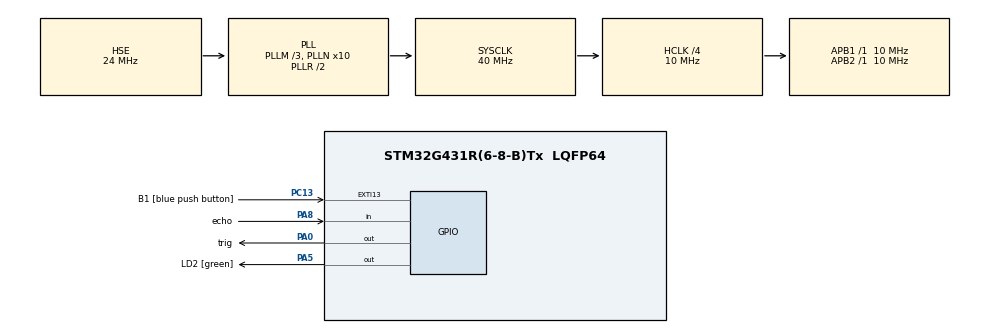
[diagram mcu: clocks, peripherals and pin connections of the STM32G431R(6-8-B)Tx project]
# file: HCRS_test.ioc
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Mcu.Family=STM32G4
Mcu.Name=STM32G431R(6-8-B)Tx
Mcu.Package=LQFP64
NVIC.PriorityGroup=NVIC_PRIORITYGROUP_4
PA0.GPIO_Label=trig 
PA0.Signal=GPIO_Output
PA13.GPIO_Label=T_SWDIO
PA13.Signal=SYS_JTMS-SWDIO
PA14.GPIO_Label=T_SWCLK
PA14.Signal=SYS_JTCK-SWCLK
PA2.GPIO_Label=LPUART1_TX [STLINKV3E_VCP_RX]
PA2.Signal=LPUART1_TX
PA3.GPIO_Label=LPUART1_RX [STLINKV3E_VCP_TX]
PA3.Signal=LPUART1_RX
PA5.GPIO_Label=LD2 [green]
PA5.Signal=GPIO_Output
PA8.GPIO_Label=echo
PA8.Signal=GPIO_Input
PB3.GPIO_Label=T_SWO
PB3.Signal=SYS_JTDO-SWO
PC13.GPIO_Label=B1 [blue push button]
PC13.Signal=GPXTI13
PC14-OSC32_IN.Signal=RCC_OSC32_IN
PC15-OSC32_OUT.Signal=RCC_OSC32_OUT
PF0-OSC_IN.Mode=HSE-External-Oscillator
PF0-OSC_IN.Signal=RCC_OSC_IN
PF1-OSC_OUT.Mode=HSE-External-Oscillator
PF1-OSC_OUT.Signal=RCC_OSC_OUT
ProjectManager.HeapSize=0x200
ProjectManager.StackSize=0x400
ProjectManager.TargetToolchain=MDK-ARM V5.27
RCC.ADC12Freq_Value=40000000
RCC.AHBCLKDivider=RCC_SYSCLK_DIV4
RCC.AHBFreq_Value=10000000
RCC.APB1Freq_Value=10000000
RCC.APB1TimFreq_Value=10000000
RCC.APB2Freq_Value=10000000
RCC.APB2TimFreq_Value=10000000
RCC.CortexFreq_Value=10000000
RCC.EXTERNAL_CLOCK_VALUE=12288000
RCC.HCLKFreq_Value=10000000
RCC.HSE_VALUE=24000000
RCC.HSI48_VALUE=48000000
RCC.HSI_VALUE=16000000
RCC.LSE_VALUE=32768
RCC.PLLM=RCC_PLLM_DIV3
RCC.PLLN=10
RCC.PLLSourceVirtual=RCC_PLLSOURCE_HSE
RCC.RTCClockSelection=RCC_RTCCLKSOURCE_LSE
RCC.SYSCLKFreq_VALUE=40000000
RCC.SYSCLKSource=RCC_SYSCLKSOURCE_PLLCLK
RCC.USBFreq_Value=40000000
RCC.VCOOutputFreq_Value=80000000
VP_SYS_VS_DBSignals.Mode=DisableDeadBatterySignals
board=NUCLEO-G431RB

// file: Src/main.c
/* USER CODE BEGIN Header */
/**
  ******************************************************************************
  * @file           : main.c
  * @brief          : Main program body
  ******************************************************************************
  * @attention
  *
  * <h2><center>&copy; Copyright (c) 2020 STMicroelectronics.
  * All rights reserved.</center></h2>
  *
  * This software component is licensed by ST under BSD 3-Clause license,
  * the "License"; You may not use this file except in compliance with the
  * License. You may obtain a copy of the License at:
  *                        opensource.org/licenses/BSD-3-Clause
  *
  ******************************************************************************
  */
/* USER CODE END Header */

#include "main.h"
#include "gpio.h"

/* USER CODE BEGIN Includes */
#include <stdio.h>
/* USER CODE END Includes */

void SystemClock_Config(void);
/* USER CODE BEGIN PFP */
void delay_us(uint8_t val);
/* USER CODE END PFP */

int main(void)
{
  /* USER CODE BEGIN 1 */
  uint32_t count;
  /* USER CODE END 1 */

  /* MCU Configuration--------------------------------------------------------*/

  /* Reset of all peripherals, Initializes the Flash interface and the Systick. */
  HAL_Init();

  /* Configure the system clock */
  SystemClock_Config();

  /* Initialize all configured peripherals */
  MX_GPIO_Init();

  /* Infinite loop */
  /* USER CODE BEGIN WHILE */
  while (1)
  {

		HAL_GPIO_WritePin(GPIOA, trig_Pin, GPIO_PIN_SET);
		delay_us(15);

		while(!(HAL_GPIO_ReadPin(echo_GPIO_Port,echo_Pin)));
		count=0;
		while(HAL_GPIO_ReadPin(echo_GPIO_Port,echo_Pin))
		{
		   count ++ ;
		}
		printf("count=%d\r\n",(count*17)/10000 );
		HAL_GPIO_TogglePin(GPIOA, LD2_Pin);
    HAL_Delay(1500);

    /* USER CODE END WHILE */

  }
}

void SystemClock_Config(void)
{
  RCC_OscInitTypeDef RCC_OscInitStruct = {0};
  RCC_ClkInitTypeDef RCC_ClkInitStruct = {0};

  /** Configure the main internal regulator output voltage
  */
  HAL_PWREx_ControlVoltageScaling(PWR_REGULATOR_VOLTAGE_SCALE1);
  /** Initializes the CPU, AHB and APB busses clocks
  */
  RCC_OscInitStruct.OscillatorType = RCC_OSCILLATORTYPE_HSE;
  RCC_OscInitStruct.HSEState = RCC_HSE_ON;
  RCC_OscInitStruct.PLL.PLLState = RCC_PLL_ON;
  RCC_OscInitStruct.PLL.PLLSource = RCC_PLLSOURCE_HSE;
  RCC_OscInitStruct.PLL.PLLM = RCC_PLLM_DIV3;
  RCC_OscInitStruct.PLL.PLLN = 10;
  RCC_OscInitStruct.PLL.PLLP = RCC_PLLP_DIV2;
  RCC_OscInitStruct.PLL.PLLQ = RCC_PLLQ_DIV2;
  RCC_OscInitStruct.PLL.PLLR = RCC_PLLR_DIV2;
  if (HAL_RCC_OscConfig(&RCC_OscInitStruct) != HAL_OK)
  {
    Error_Handler();
  }
  /** Initializes the CPU, AHB and APB busses clocks
  */
  RCC_ClkInitStruct.ClockType = RCC_CLOCKTYPE_HCLK|RCC_CLOCKTYPE_SYSCLK
                              |RCC_CLOCKTYPE_PCLK1|RCC_CLOCKTYPE_PCLK2;
  RCC_ClkInitStruct.SYSCLKSource = RCC_SYSCLKSOURCE_PLLCLK;
  RCC_ClkInitStruct.AHBCLKDivider = RCC_SYSCLK_DIV4;
  RCC_ClkInitStruct.APB1CLKDivider = RCC_HCLK_DIV1;
  RCC_ClkInitStruct.APB2CLKDivider = RCC_HCLK_DIV1;

  if (HAL_RCC_ClockConfig(&RCC_ClkInitStruct, FLASH_LATENCY_0) != HAL_OK)
  {
    Error_Handler();
  }
}

/* USER CODE BEGIN 4 */
 void delay_us(uint8_t val)
 {
  int16_t temp ;
	 while( val--)
	 {
		 temp = 9;
	   while(temp--);
	 }
 }

/* USER CODE END 4 */

void Error_Handler(void)
{
}

/************************ (C) COPYRIGHT STMicroelectronics *****END OF FILE****/
